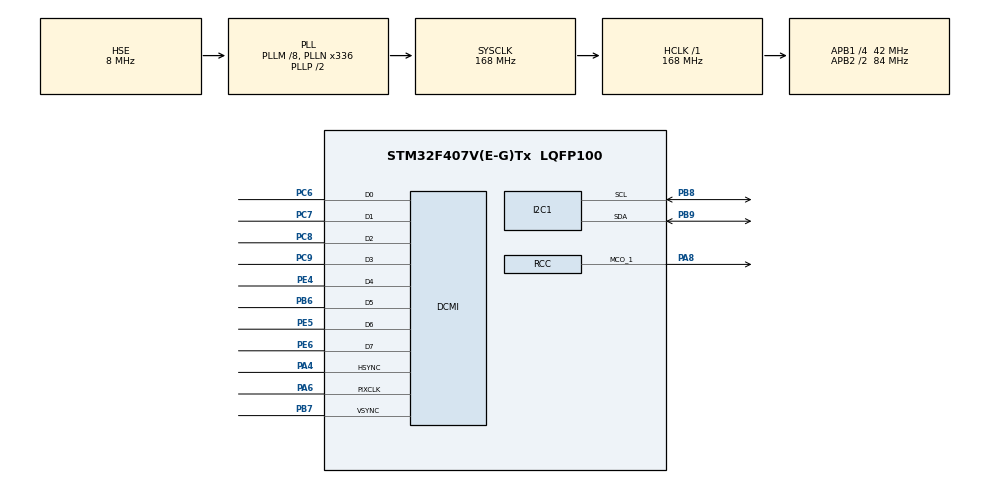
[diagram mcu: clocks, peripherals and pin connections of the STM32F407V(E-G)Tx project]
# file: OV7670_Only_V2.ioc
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DCMI.JPEGMode=DCMI_JPEG_DISABLE
DCMI.PCKPolarity=DCMI_PCKPOLARITY_RISING
DCMI.VSPolarity=DCMI_VSPOLARITY_HIGH
Dma.DCMI.0.Direction=DMA_PERIPH_TO_MEMORY
Dma.DCMI.0.FIFOMode=DMA_FIFOMODE_DISABLE
Dma.DCMI.0.Instance=DMA2_Stream1
Dma.DCMI.0.MemDataAlignment=DMA_MDATAALIGN_WORD
Dma.DCMI.0.MemInc=DMA_MINC_DISABLE
Dma.DCMI.0.Mode=DMA_NORMAL
Dma.DCMI.0.PeriphDataAlignment=DMA_PDATAALIGN_WORD
Dma.DCMI.0.PeriphInc=DMA_PINC_DISABLE
Dma.DCMI.0.Priority=DMA_PRIORITY_LOW
Dma.Request0=DCMI
I2C1.I2C_Mode=I2C_Standard
Mcu.Family=STM32F4
Mcu.Name=STM32F407V(E-G)Tx
Mcu.Package=LQFP100
NVIC.DCMI_IRQn=true\:5\:0\:true\:false\:true\:true\:true\:true
NVIC.DMA2_Stream1_IRQn=true\:5\:0\:true\:false\:true\:false\:true\:true
NVIC.PriorityGroup=NVIC_PRIORITYGROUP_4
PA13.Mode=Serial_Wire
PA13.Signal=SYS_JTMS-SWDIO
PA14.Mode=Serial_Wire
PA14.Signal=SYS_JTCK-SWCLK
PA4.GPIO_Mode=GPIO_MODE_AF_PP
PA4.GPIO_PuPd=GPIO_PULLDOWN
PA4.GPIO_Speed=GPIO_SPEED_FREQ_VERY_HIGH
PA4.Mode=Slave_8_bits_External_Synchro
PA4.Signal=DCMI_HSYNC
PA6.GPIO_Mode=GPIO_MODE_AF_PP
PA6.GPIO_PuPd=GPIO_PULLDOWN
PA6.GPIO_Speed=GPIO_SPEED_FREQ_VERY_HIGH
PA6.Mode=Slave_8_bits_External_Synchro
PA6.Signal=DCMI_PIXCLK
PA8.Mode=Clock-out-1
PA8.Signal=RCC_MCO_1
PB6.GPIO_Mode=GPIO_MODE_AF_PP
PB6.GPIO_PuPd=GPIO_PULLDOWN
PB6.GPIO_Speed=GPIO_SPEED_FREQ_VERY_HIGH
PB6.Mode=Slave_8_bits_External_Synchro
PB6.Signal=DCMI_D5
PB7.GPIO_Mode=GPIO_MODE_AF_PP
PB7.GPIO_PuPd=GPIO_PULLDOWN
PB7.GPIO_Speed=GPIO_SPEED_FREQ_VERY_HIGH
PB7.Mode=Slave_8_bits_External_Synchro
PB7.Signal=DCMI_VSYNC
PB8.GPIO_Mode=GPIO_MODE_AF_OD
PB8.GPIO_Pu=GPIO_PULLUP
PB8.GPIO_Speed=GPIO_SPEED_FREQ_VERY_HIGH
PB8.Mode=I2C
PB8.Signal=I2C1_SCL
PB9.GPIO_Mode=GPIO_MODE_AF_OD
PB9.GPIO_Pu=GPIO_PULLUP
PB9.GPIO_Speed=GPIO_SPEED_FREQ_VERY_HIGH
PB9.Mode=I2C
PB9.Signal=I2C1_SDA
PC6.GPIO_Mode=GPIO_MODE_AF_PP
PC6.GPIO_PuPd=GPIO_PULLDOWN
PC6.GPIO_Speed=GPIO_SPEED_FREQ_VERY_HIGH
PC6.Mode=Slave_8_bits_External_Synchro
PC6.Signal=DCMI_D0
PC7.GPIO_Mode=GPIO_MODE_AF_PP
PC7.GPIO_PuPd=GPIO_PULLDOWN
PC7.GPIO_Speed=GPIO_SPEED_FREQ_VERY_HIGH
PC7.Mode=Slave_8_bits_External_Synchro
PC7.Signal=DCMI_D1
PC8.GPIO_Mode=GPIO_MODE_AF_PP
PC8.GPIO_PuPd=GPIO_PULLDOWN
PC8.GPIO_Speed=GPIO_SPEED_FREQ_VERY_HIGH
PC8.Mode=Slave_8_bits_External_Synchro
PC8.Signal=DCMI_D2
PC9.GPIO_Mode=GPIO_MODE_AF_PP
PC9.GPIO_PuPd=GPIO_PULLDOWN
PC9.GPIO_Speed=GPIO_SPEED_FREQ_VERY_HIGH
PC9.Mode=Slave_8_bits_External_Synchro
PC9.Signal=DCMI_D3
PE4.GPIO_Mode=GPIO_MODE_AF_PP
PE4.GPIO_PuPd=GPIO_PULLDOWN
PE4.GPIO_Speed=GPIO_SPEED_FREQ_VERY_HIGH
PE4.Mode=Slave_8_bits_External_Synchro
PE4.Signal=DCMI_D4
PE5.GPIO_Mode=GPIO_MODE_AF_PP
PE5.GPIO_PuPd=GPIO_PULLDOWN
PE5.GPIO_Speed=GPIO_SPEED_FREQ_VERY_HIGH
PE5.Mode=Slave_8_bits_External_Synchro
PE5.Signal=DCMI_D6
PE6.GPIO_Mode=GPIO_MODE_AF_PP
PE6.GPIO_PuPd=GPIO_PULLDOWN
PE6.GPIO_Speed=GPIO_SPEED_FREQ_VERY_HIGH
PE6.Mode=Slave_8_bits_External_Synchro
PE6.Signal=DCMI_D7
PH0-OSC_IN.Mode=HSE-External-Oscillator
PH0-OSC_IN.Signal=RCC_OSC_IN
PH1-OSC_OUT.Mode=HSE-External-Oscillator
PH1-OSC_OUT.Signal=RCC_OSC_OUT
ProjectManager.HeapSize=0x200
ProjectManager.StackSize=0x400
ProjectManager.TargetToolchain=STM32CubeIDE
RCC.48MHZClocksFreq_Value=48000000
RCC.AHBFreq_Value=168000000
RCC.APB1CLKDivider=RCC_HCLK_DIV4
RCC.APB1Freq_Value=42000000
RCC.APB1TimFreq_Value=84000000
RCC.APB2CLKDivider=RCC_HCLK_DIV2
RCC.APB2Freq_Value=84000000
RCC.APB2TimFreq_Value=168000000
RCC.CortexFreq_Value=168000000
RCC.HCLKFreq_Value=168000000
RCC.HSE_VALUE=8000000
RCC.HSI_VALUE=16000000
RCC.LSE_VALUE=32768
RCC.PLLM=8
RCC.PLLN=336
RCC.PLLQ=7
RCC.PLLSourceVirtual=RCC_PLLSOURCE_HSE
RCC.RCC_MCO1Source=RCC_MCO1SOURCE_HSE
RCC.SYSCLKFreq_VALUE=168000000
RCC.SYSCLKSource=RCC_SYSCLKSOURCE_PLLCLK
RCC.VCOOutputFreq_Value=336000000
board=STM32F407G-DISC1

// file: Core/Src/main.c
/* USER CODE BEGIN Header */
/**
  ******************************************************************************
  * @file           : main.c
  * @brief          : Main program body
  ******************************************************************************
  * @attention
  *
  * Copyright (c) 2024 STMicroelectronics.
  * All rights reserved.
  *
  * This software is licensed under terms that can be found in the LICENSE file
  * in the root directory of this software component.
  * If no LICENSE file comes with this software, it is provided AS-IS.
  *
  ******************************************************************************
  */
/* USER CODE END Header */
#include "main.h"

/* USER CODE BEGIN Includes */
#include "OV7670.h"
/* USER CODE END Includes */

DCMI_HandleTypeDef hdcmi;
DMA_HandleTypeDef hdma_dcmi;

I2C_HandleTypeDef hi2c1;

void SystemClock_Config(void);
static void MX_GPIO_Init(void);
static void MX_DMA_Init(void);
static void MX_I2C1_Init(void);
static void MX_DCMI_Init(void);

/* USER CODE BEGIN 0 */
uint8_t initTest  = 0;
uint8_t readTest  = 0;
uint8_t writeTest = 0;

HAL_StatusTypeDef stat;

volatile uint16_t lineCounter[30] = {0};
volatile uint16_t frameCounter = 0;
volatile uint16_t vCounter[30] = {0};
volatile uint16_t fpsCounter[10];

uint32_t image_data[80*60];

Camera_settings OV7670_settings={
		QQQVGA, 		//Resolution
		RGB565, 	//Format
};
/* USER CODE END 0 */

int main(void)
{

  /* MCU Configuration--------------------------------------------------------*/

  /* Reset of all peripherals, Initializes the Flash interface and the Systick. */
  HAL_Init();

  /* Configure the system clock */
  SystemClock_Config();

  /* Initialize all configured peripherals */
  MX_GPIO_Init();
  MX_DMA_Init();
  MX_I2C1_Init();
  MX_DCMI_Init();
  /* USER CODE BEGIN 2 */
  //  ILI9341_Init(ILI9341_WIDTH, ILI9341_HEIGHT);
  //  uint16_t* p_lcdData;
  //  p_lcdData = ILI9341_GetDrawAddress();

    OV7670_Init(&hdcmi, &hdma_dcmi, &hi2c1);

    OV7670_UpdateSettings(OV7670_settings);

    OV7670_SetFrameRate(XCLK_DIV(2), PLL_x6);		// (8MHz / 2) * 6
    HAL_Delay(10);

    OV7670_Start(CONTINUOUS, image_data);
  /* USER CODE END 2 */

  /* Infinite loop */
  while (1)
  {

  }
}

void SystemClock_Config(void)
{
  RCC_OscInitTypeDef RCC_OscInitStruct = {0};
  RCC_ClkInitTypeDef RCC_ClkInitStruct = {0};

  /** Configure the main internal regulator output voltage
  */
  __HAL_RCC_PWR_CLK_ENABLE();
  __HAL_PWR_VOLTAGESCALING_CONFIG(PWR_REGULATOR_VOLTAGE_SCALE1);

  /** Initializes the RCC Oscillators according to the specified parameters
  * in the RCC_OscInitTypeDef structure.
  */
  RCC_OscInitStruct.OscillatorType = RCC_OSCILLATORTYPE_HSE;
  RCC_OscInitStruct.HSEState = RCC_HSE_ON;
  RCC_OscInitStruct.PLL.PLLState = RCC_PLL_ON;
  RCC_OscInitStruct.PLL.PLLSource = RCC_PLLSOURCE_HSE;
  RCC_OscInitStruct.PLL.PLLM = 8;
  RCC_OscInitStruct.PLL.PLLN = 336;
  RCC_OscInitStruct.PLL.PLLP = RCC_PLLP_DIV2;
  RCC_OscInitStruct.PLL.PLLQ = 7;
  if (HAL_RCC_OscConfig(&RCC_OscInitStruct) != HAL_OK)
  {
    Error_Handler();
  }

  /** Initializes the CPU, AHB and APB buses clocks
  */
  RCC_ClkInitStruct.ClockType = RCC_CLOCKTYPE_HCLK|RCC_CLOCKTYPE_SYSCLK
                              |RCC_CLOCKTYPE_PCLK1|RCC_CLOCKTYPE_PCLK2;
  RCC_ClkInitStruct.SYSCLKSource = RCC_SYSCLKSOURCE_PLLCLK;
  RCC_ClkInitStruct.AHBCLKDivider = RCC_SYSCLK_DIV1;
  RCC_ClkInitStruct.APB1CLKDivider = RCC_HCLK_DIV4;
  RCC_ClkInitStruct.APB2CLKDivider = RCC_HCLK_DIV2;

  if (HAL_RCC_ClockConfig(&RCC_ClkInitStruct, FLASH_LATENCY_5) != HAL_OK)
  {
    Error_Handler();
  }
  HAL_RCC_MCOConfig(RCC_MCO1, RCC_MCO1SOURCE_HSE, RCC_MCODIV_1);
}

static void MX_DCMI_Init(void)
{

  hdcmi.Instance = DCMI;
  hdcmi.Init.SynchroMode = DCMI_SYNCHRO_HARDWARE;
  hdcmi.Init.PCKPolarity = DCMI_PCKPOLARITY_RISING;
  hdcmi.Init.VSPolarity = DCMI_VSPOLARITY_HIGH;
  hdcmi.Init.HSPolarity = DCMI_HSPOLARITY_LOW;
  hdcmi.Init.CaptureRate = DCMI_CR_ALL_FRAME;
  hdcmi.Init.ExtendedDataMode = DCMI_EXTEND_DATA_8B;
  hdcmi.Init.JPEGMode = DCMI_JPEG_DISABLE;
  if (HAL_DCMI_Init(&hdcmi) != HAL_OK)
  {
    Error_Handler();
  }

}

static void MX_I2C1_Init(void)
{

  hi2c1.Instance = I2C1;
  hi2c1.Init.ClockSpeed = 100000;
  hi2c1.Init.DutyCycle = I2C_DUTYCYCLE_2;
  hi2c1.Init.OwnAddress1 = 0;
  hi2c1.Init.AddressingMode = I2C_ADDRESSINGMODE_7BIT;
  hi2c1.Init.DualAddressMode = I2C_DUALADDRESS_DISABLE;
  hi2c1.Init.OwnAddress2 = 0;
  hi2c1.Init.GeneralCallMode = I2C_GENERALCALL_DISABLE;
  hi2c1.Init.NoStretchMode = I2C_NOSTRETCH_DISABLE;
  if (HAL_I2C_Init(&hi2c1) != HAL_OK)
  {
    Error_Handler();
  }

}

static void MX_DMA_Init(void)
{

  /* DMA controller clock enable */
  __HAL_RCC_DMA2_CLK_ENABLE();

  /* DMA interrupt init */
  /* DMA2_Stream1_IRQn interrupt configuration */
  HAL_NVIC_SetPriority(DMA2_Stream1_IRQn, 5, 0);
  HAL_NVIC_EnableIRQ(DMA2_Stream1_IRQn);

}

static void MX_GPIO_Init(void)
{
  GPIO_InitTypeDef GPIO_InitStruct = {0};

  /* GPIO Ports Clock Enable */
  __HAL_RCC_GPIOE_CLK_ENABLE();
  __HAL_RCC_GPIOH_CLK_ENABLE();
  __HAL_RCC_GPIOA_CLK_ENABLE();
  __HAL_RCC_GPIOC_CLK_ENABLE();
  __HAL_RCC_GPIOB_CLK_ENABLE();

  /*Configure GPIO pin : PA8 */
  GPIO_InitStruct.Pin = GPIO_PIN_8;
  GPIO_InitStruct.Mode = GPIO_MODE_AF_PP;
  GPIO_InitStruct.Pull = GPIO_NOPULL;
  GPIO_InitStruct.Speed = GPIO_SPEED_FREQ_LOW;
  GPIO_InitStruct.Alternate = GPIO_AF0_MCO;
  HAL_GPIO_Init(GPIOA, &GPIO_InitStruct);

}

void Error_Handler(void)
{
  __disable_irq();
  while (1)
  {
  }
}
